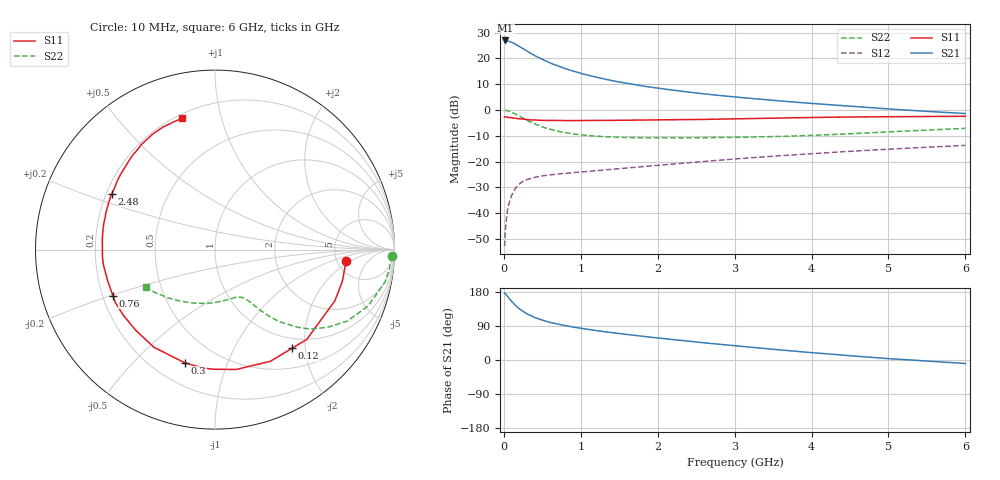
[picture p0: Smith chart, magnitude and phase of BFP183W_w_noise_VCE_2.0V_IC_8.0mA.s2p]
! Infineon Technologies  Discrete & RF Semiconductors
! BFP183W
! VCE = 2.0 V,  IC =  8.0 mA
! Common Emitter S-Parameters:  Jan 2016
# GHz  S  MA  R  50
!  f  S11  S21  S12  S22
! GHz  MAG  ANG  MAG  ANG  MAG  ANG  MAG  ANG
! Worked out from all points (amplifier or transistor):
!   210 points, 10 MHz to 6 GHz, reference 50 ohm
!   highest |S21| = 26.9 dB at 20 MHz (marker M1)
!   |S21| within 3 dB of that: start of sweep to 238.5 MHz
!   unconditionally stable (mu >= 1): 1.426 GHz to 5.526 GHz
!   at 185 MHz: K = 0.20, MSG = 27.0 dB, |S12| = -29.2 dB
!   at 1.52 GHz: K = 1.03, MAG = 15.6 dB, |S12| = -22.7 dB
!   at 6 GHz: K = 0.96, MSG = 6.2 dB, |S12| = -13.7 dB
!   lowest NFmin = 1.30 dB at 450 MHz
!   S11 on the Smith chart (normalised r, x): 10 MHz: 6.06, -1.61; 120 MHz: 0.82, -1.75; 300 MHz: 0.33, -0.72; 760 MHz: 0.24, -0.20; 2.48 GHz: 0.22, +0.24; 6 GHz: 0.22, +0.75
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0.01  0.7334 -4.8  22.13 176.6  0.0023 89.2  0.9857 -2.1
0.02  0.7301 -9.3  22.18 174.8  0.0048 85.8  0.9789 -4.3
0.03  0.7313 -14.0  22.15 172.3  0.0068 85.2  0.9779 -6.4
0.06  0.7162 -27.3  21.47 164.6  0.0139 76.4  0.9517 -12.5
0.1  0.7154 -44.4  20.52 155.0  0.0219 69.3  0.9096 -20.1
0.12  0.6976 -51.9  19.78 150.9  0.0252 65.0  0.8789 -23.3
0.15  0.6945 -63.6  18.87 144.1  0.0304 60.4  0.8382 -28.4
0.2  0.6783 -79.9  17 135.2  0.0365 54.3  0.7622 -34.6
0.26  0.6629 -95.8  15.01 126.8  0.0421 48.6  0.6805 -40.4
0.3  0.6535 -104.7  13.74 121.7  0.0448 45.6  0.6302 -43.3
0.4  0.6418 -122.1  11.31 112.2  0.0495 40.2  0.536 -48.4
0.5  0.6301 -134.6  9.5 104.9  0.0528 37.4  0.469 -51.3
0.6  0.628 -144.2  8.139 99.3  0.0553 35.6  0.4219 -53.2
0.76  0.6239 -155.7  6.629 92.3  0.0584 35.1  0.3726 -55.2
1.02  0.6238 -168.8  5.02 83.1  0.0631 35.7  0.3274 -57.9
1.42  0.6286 176.9  3.673 71.8  0.0711 38.2  0.2991 -62.5
2.02  0.6415 161.4  2.62 57.8  0.085 41.6  0.2876 -71.2
2.48  0.6531 151.5  2.151 48.0  0.0971 42.8  0.2887 -79.4
3.1  0.6758 139.5  1.731 35.8  0.1152 42.8  0.2962 -91.9
4.1  0.717 123.7  1.306 17.9  0.1455 40.5  0.3259 -115.0
5.1  0.7424 112.0  1.023 2.4  0.1769 36.2  0.3822 -136.6
6  0.754 104.3  0.853 -9.2  0.206 31.8  0.4408 -151.4
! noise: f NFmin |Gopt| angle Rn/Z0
0.45  1.3  0.17  43  0.21
0.9  1.35  0.21  115  0.2
1.8  2.05  0.33  -177  0.14
